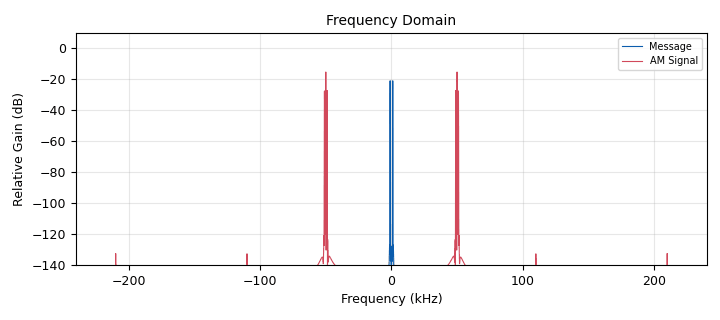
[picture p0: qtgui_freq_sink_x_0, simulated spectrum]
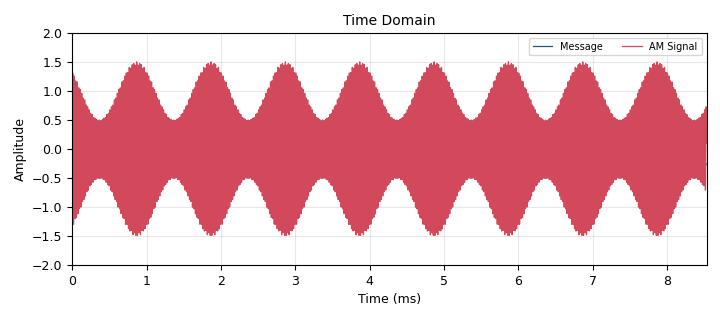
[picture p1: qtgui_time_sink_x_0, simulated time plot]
options:
  parameters:
    author: Workshop
    comment: AM transmitter demonstration
    description: Amplitude modulation example
    generate_options: qt_gui
    id: am_transmitter
    output_language: python
    title: AM Transmitter Demo
  states: {}

blocks:
- name: audio_rate
  id: variable
  parameters:
    value: '48000'
  states: {}
- name: carrier_freq
  id: variable_qtgui_range
  parameters:
    gui_hint: 0,0,1,2
    label: Carrier Frequency (Hz)
    start: '10000'
    step: '1000'
    stop: '100000'
    value: '50000'
  states: {}
- name: message_freq
  id: variable_qtgui_range
  parameters:
    gui_hint: 2,0,1,2
    label: Message Frequency (Hz)
    start: '100'
    step: '100'
    stop: '5000'
    value: '1000'
  states: {}
- name: modulation_index
  id: variable_qtgui_range
  parameters:
    gui_hint: 1,0,1,2
    label: Modulation Index
    start: '0'
    step: '0.01'
    stop: '1'
    value: '0.5'
  states: {}
- name: samp_rate
  id: variable
  parameters:
    value: '480000'
  states: {}
- name: analog_sig_source_x_0
  id: analog_sig_source_x
  parameters:
    amp: modulation_index
    comment: Message signal (audio)
    freq: message_freq
    offset: '0'
    phase: '0'
    samp_rate: samp_rate
    type: float
    waveform: analog.GR_COS_WAVE
  states: {}
- name: analog_sig_source_x_1
  id: analog_sig_source_x
  parameters:
    amp: '1'
    comment: Carrier signal
    freq: carrier_freq
    offset: '0'
    phase: '0'
    samp_rate: samp_rate
    type: float
    waveform: analog.GR_COS_WAVE
  states: {}
- name: audio_sink_0
  id: audio_sink
  parameters:
    comment: Audio output
    samp_rate: audio_rate
  states: {}
- name: blocks_add_const_vxx_0
  id: blocks_add_const_vxx
  parameters:
    comment: Add DC offset for modulation
    const: '1'
    type: float
  states: {}
- name: blocks_multiply_xx_0
  id: blocks_multiply_xx
  parameters:
    comment: AM modulation
    type: float
  states: {}
- name: blocks_multiply_xx_1
  id: blocks_multiply_xx
  parameters:
    comment: Mag ^ 2
    type: float
  states: {}
- name: blocks_throttle2_0
  id: blocks_throttle2
  parameters:
    samples_per_second: samp_rate
    type: float
  states: {}
- name: qtgui_freq_sink_x_0
  id: qtgui_freq_sink_x
  parameters:
    bw: samp_rate
    fc: '0'
    fftsize: '8192'
    grid: 'True'
    gui_hint: 3,0,2,2
    label1: Message
    label2: AM Signal
    name: '"Frequency Domain"'
    nconnections: '2'
    type: float
  states: {}
- name: qtgui_time_sink_x_0
  id: qtgui_time_sink_x
  parameters:
    comment: Time
    grid: 'True'
    gui_hint: 5,0,2,2
    label1: Message
    label2: AM Signal
    name: '"Time Domain"'
    nconnections: '2'
    size: '4096'
    srate: samp_rate
    type: float
    ymax: '2'
    ymin: '-2'
  states: {}
- name: rational_resampler_xxx_0
  id: rational_resampler_xxx
  parameters:
    comment: Downsample for audio
    decim: '10'
    interp: '1'
    type: fff
  states: {}

connections:
- [analog_sig_source_x_0, '0', blocks_add_const_vxx_0, '0']
- [analog_sig_source_x_0, '0', qtgui_freq_sink_x_0, '0']
- [analog_sig_source_x_0, '0', qtgui_time_sink_x_0, '0']
- [analog_sig_source_x_1, '0', blocks_multiply_xx_0, '1']
- [blocks_add_const_vxx_0, '0', blocks_multiply_xx_0, '0']
- [blocks_multiply_xx_0, '0', blocks_throttle2_0, '0']
- [blocks_multiply_xx_1, '0', rational_resampler_xxx_0, '0']
- [blocks_throttle2_0, '0', blocks_multiply_xx_1, '0']
- [blocks_throttle2_0, '0', blocks_multiply_xx_1, '1']
- [blocks_throttle2_0, '0', qtgui_freq_sink_x_0, '1']
- [blocks_throttle2_0, '0', qtgui_time_sink_x_0, '1']
- [rational_resampler_xxx_0, '0', audio_sink_0, '0']

metadata:
  file_format: 1
  grc_version: 3.10.7.0
